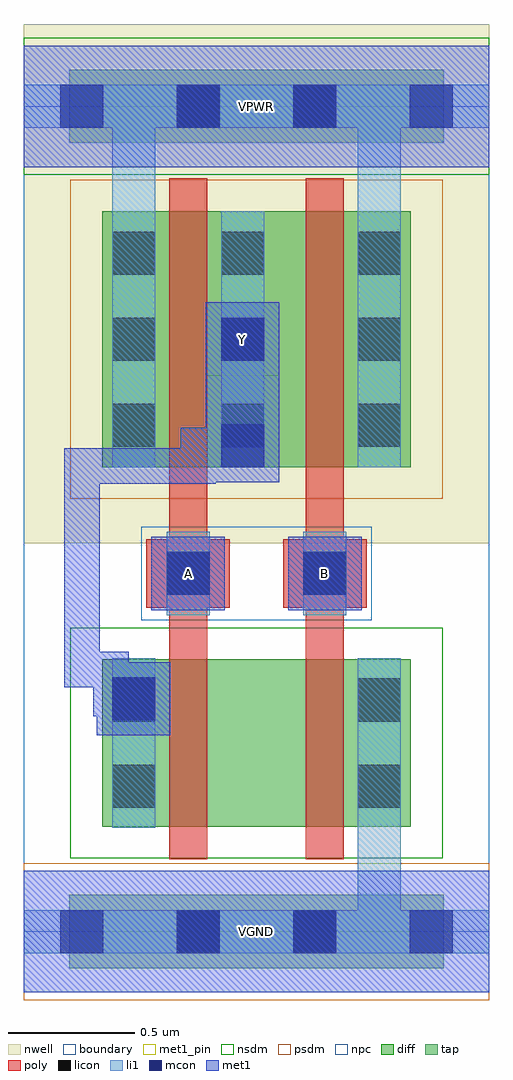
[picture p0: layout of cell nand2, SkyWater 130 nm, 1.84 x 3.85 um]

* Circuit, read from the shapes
.subckt nand2 A B VGND VPWR Y
XM1 n1 A Y VGND sky130_fd_pr__nfet_01v8 w=0.66 l=0.15
XM2 VGND B n1 VGND sky130_fd_pr__nfet_01v8 w=0.66 l=0.15
XM3 Y A VPWR VPWR sky130_fd_pr__pfet_01v8 w=1.01 l=0.15
XM4 VPWR B Y VPWR sky130_fd_pr__pfet_01v8 w=1.01 l=0.15
.ends

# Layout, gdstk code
import gdstk
lib = gdstk.Library(unit=1e-6, precision=1e-09)
def R(c, l, rs):  # rectangles x0, y0, x1, y1
    for r in rs: c.add(gdstk.rectangle(r[:2], r[2:], *l))
def A(c, l, x, y, w, h, nx, ny, dx, dy):  # array of equal rectangles
    R(c, l, [(x+i*dx, y+j*dy, x+i*dx+w, y+j*dy+h) for i in range(nx) for j in range(ny)])
nwell = (64, 20)
diff = (65, 20)
tap = (65, 44)
poly = (66, 20)
licon = (66, 44)
li1 = (67, 20)
mcon = (67, 44)
met1_pin = (68, 16)
met1 = (68, 20)
nsdm = (93, 44)
psdm = (94, 20)
npc = (95, 20)
boundary = (235, 4)

nand2 = lib.new_cell('nand2')
R(nand2, nwell, [(0,1.535,1.84,3.585)])
R(nand2, diff, [(0.31,0.415,1.53,1.075), (0.31,1.835,1.53,2.845)])
R(nand2, tap, [(0.18,-0.145,1.66,0.145), (0.18,3.115,1.66,3.405)])
R(nand2, poly, [(0.575,0.285,0.725,2.975), (1.115,0.285,1.265,2.975), (0.485,1.28,0.815,1.55), (1.025,1.28,1.355,1.55)])
A(nand2, licon, 0.35, 1.915, 0.17, 0.17, 1, 3, 0, 0.34)
A(nand2, licon, 0.78, 1.915, 0.17, 0.17, 1, 3, 0, 0.34)
A(nand2, licon, 1.32, 1.915, 0.17, 0.17, 1, 3, 0, 0.34)
R(nand2, licon, [(0.605,-0.085,0.775,0.085), (1.065,-0.085,1.235,0.085), (0.35,0.49,0.52,0.66), (1.32,0.49,1.49,0.66), (0.35,0.83,0.52,1), (1.32,0.83,1.49,1), (0.565,1.33,0.735,1.5), (1.105,1.33,1.275,1.5), (0.605,3.175,0.775,3.345), (1.065,3.175,1.235,3.345)])
R(nand2, li1, [(0,-0.085,1.84,0.085), (1.32,-0.085,1.49,1.08), (0.35,0.41,0.52,1.08), (1.32,0.41,1.49,1.08), (0.565,1.25,0.735,1.58), (1.105,1.25,1.275,1.58), (0.35,1.835,0.52,2.845), (0.35,1.835,0.52,3.345), (0.78,1.835,0.95,2.845), (1.32,1.835,1.49,2.845), (1.32,1.835,1.49,3.345), (0,3.175,1.84,3.345)])
A(nand2, mcon, 0.145, -0.085, 0.17, 0.17, 4, 2, 0.46, 3.26)
R(nand2, mcon, [(0.35,0.835,0.52,1.005), (0.565,1.33,0.735,1.5), (1.105,1.33,1.275,1.5), (0.78,1.835,0.95,2.005), (0.78,2.255,0.95,2.425)])
R(nand2, met1_pin, [(0,-0.24,1.84,0.24), (0.505,1.27,0.795,1.56), (1.045,1.27,1.335,1.56), (0.72,2.195,1.01,2.485), (0,3.02,1.84,3.5)])
R(nand2, met1, [(0,-0.24,1.84,0.24), (0.29,0.775,0.58,1.065), (0.275,0.85,0.505,0.99), (0.275,0.85,0.415,1.105), (0.16,0.965,0.415,1.105), (0.16,0.965,0.3,1.91), (0.505,1.27,0.795,1.56), (1.045,1.27,1.335,1.56), (0.16,1.77,0.76,1.91), (0.62,1.77,0.76,1.99), (0.72,1.775,1.01,2.065), (0.62,1.85,0.935,1.99), (0.72,1.91,0.76,1.99), (0.72,1.91,0.76,1.99), (0.72,1.91,0.76,1.99), (0.72,1.91,0.76,1.99), (0.72,1.91,0.76,1.99), (0.72,1.91,0.76,1.99), (0.72,1.91,0.76,1.99), (0.72,1.91,0.76,1.99), (0.72,1.99,0.935,2.065), (0.72,1.99,0.935,2.065), (0.72,1.99,0.935,2.065), (0.72,1.99,0.935,2.065), (0.72,1.99,0.935,2.065), (0.72,1.99,0.935,2.065), (0.72,1.99,0.76,2.065), (0.72,1.99,0.76,2.065), (0.72,1.99,0.76,2.065), (0.72,1.99,0.76,2.065), (0.72,1.99,0.76,2.065), (0.72,1.99,0.76,2.065), (0.72,2.065,1.01,2.195), (0.72,2.065,1.01,2.195), (0.72,2.065,1.01,2.195), (0.72,2.065,0.935,2.195), (0.72,2.065,0.935,2.195), (0.72,2.065,0.76,2.195), (0.72,2.065,0.76,2.195), (0.72,2.195,1.01,2.485), (0,3.02,1.84,3.5)])
R(nand2, nsdm, [(0.185,0.29,1.655,1.2), (0,2.99,1.84,3.53)])
R(nand2, psdm, [(0,-0.27,1.84,0.27), (0.185,1.71,1.655,2.97)])
R(nand2, npc, [(0.465,1.23,1.375,1.6)])
R(nand2, boundary, [(0,0,1.84,3.26)])
nand2.add(gdstk.Label('A', (0.65,1.415), layer=68, texttype=5))
nand2.add(gdstk.Label('B', (1.19,1.415), layer=68, texttype=5))
nand2.add(gdstk.Label('Y', (0.865,2.34), layer=68, texttype=5))
nand2.add(gdstk.Label('VPWR', (0.92,3.26), layer=68, texttype=5))
nand2.add(gdstk.Label('VGND', (0.92,0), layer=68, texttype=5))
nand2.add(gdstk.Label('A', (0.65,1.415), layer=68, texttype=16))
nand2.add(gdstk.Label('B', (1.19,1.415), layer=68, texttype=16))
nand2.add(gdstk.Label('Y', (0.865,2.34), layer=68, texttype=16))
nand2.add(gdstk.Label('VPWR', (0.92,3.26), layer=68, texttype=16))
nand2.add(gdstk.Label('VGND', (0.92,0), layer=68, texttype=16))

lib.write_gds('nand2.gds')
